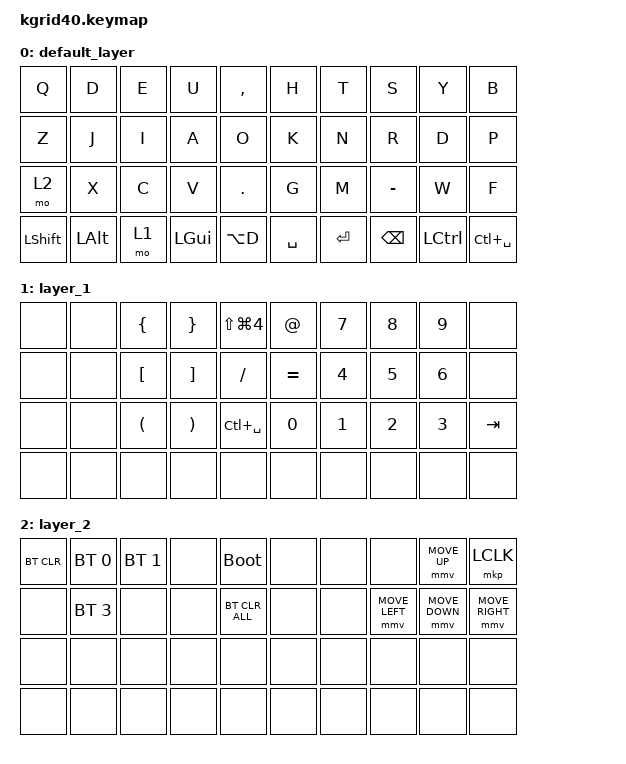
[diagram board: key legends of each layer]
#include <behaviors.dtsi>
#include <dt-bindings/zmk/bt.h>
#include <dt-bindings/zmk/keys.h>
#include <dt-bindings/zmk/pointing.h>

/ {
    /* コンボは干渉を避けるため削除した状態を維持します */

    keymap {
        compatible = "zmk,keymap";

        default_layer {
            bindings = <
&kp Q           &kp D         &kp E  &kp U         &kp COMMA  &kp H      &kp T      &kp S      &kp Y      &kp B
&kp Z           &kp J         &kp I  &kp A         &kp O      &kp K      &kp N      &kp R      &kp D      &kp P
&mo 2           &kp X         &kp C  &kp V         &kp DOT    &kp G      &kp M      &kp MINUS  &kp W      &kp F
&kp LEFT_SHIFT  &kp LEFT_ALT  &mo 1  &kp LEFT_GUI  &kp LA(D)  &kp SPACE  &kp ENTER  &kp BSPC   &kp LCTRL  &kp LC(SPACE)
            >;
        };

        layer_1 {
            bindings = <
&none  &none  &kp LBRC  &kp RBRC  &kp LS(LG(NUMBER_4))  &kp AT_SIGN  &kp N7  &kp N8  &kp N9  &none
&none  &none  &kp LBKT  &kp RBKT  &kp SLASH             &kp EQUAL    &kp N4  &kp N5  &kp N6  &none
&none  &none  &kp LPAR  &kp RPAR  &kp LC(SPACE)         &kp N0       &kp N1  &kp N2  &kp N3  &kp TAB
&none  &none  &none     &none     &none                 &none        &none   &none   &none   &none
            >;
        };

        layer_2 {
            bindings = <
&bt BT_CLR  &bt BT_SEL 0  &bt BT_SEL 1  &none  &bootloader     &none  &none  &none           &mmv MOVE_UP    &mkp LCLK
&none       &bt BT_SEL 3  &none         &none  &bt BT_CLR_ALL  &none  &none  &mmv MOVE_LEFT  &mmv MOVE_DOWN  &mmv MOVE_RIGHT
&none       &none         &none         &none  &none           &none  &none  &none           &none           &none
&none       &none         &none         &none  &none           &none  &none  &none           &none           &none
            >;
        };
    };
};
